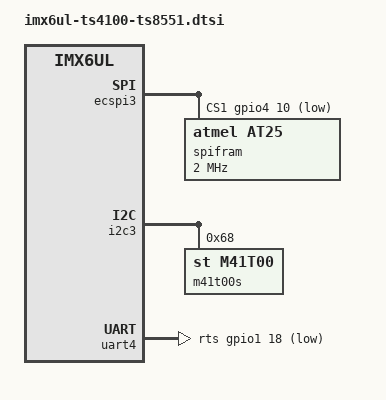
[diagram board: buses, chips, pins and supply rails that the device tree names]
// SPDX-License-Identifier: GPL-2.0 OR X11
/*
 * Copyright (C) 2023 Technologic Systems, Inc. dba embeddedTS
 */

#include <dt-bindings/input/input.h>

/* Requires more CS GPIO and updated pinctrl? */
&ecspi3 {
	num-cs = <2>;
	cs-gpios = <&gpio4 12 GPIO_ACTIVE_LOW
		    &gpio4 10 GPIO_ACTIVE_LOW>;
	pinctrl-names = "default";
	pinctrl-0 = <&pinctrl_ecspi3>;
	status = "okay";

        spifram: eeprom@1 {
                compatible = "atmel,at25", "cypress,fm25l16b";
                reg = <1>;
                spi-max-frequency = <2000000>;
                size = <0x800>;
                address-width = <16>;
                pagesize = <64>;
        };

};

&can2 {
	status = "disabled";
};

&i2c3 {
	m41t00s: rtc@68 {
		compatible = "st,m41t00";
		reg = <0x68>;
	};
};

&snvs_rtc {
	status = "disabled";
};

&uart4 {
	uart-has-rtscts;
	/* gpio 1_18 is initialized by the hog group in 4100.dtsi
	 * It is the SPARE_1 pin, needs to be set up in FPGA to pass to TXEN
	 * with the command 'tshwctl --out 0x31 --in 0x1'
	 */
	rts-gpios = <&gpio1 18 GPIO_ACTIVE_LOW>;
	dma-names = "", "";
	linux,rs485-enabled-at-boot-time;
};

&iomuxc {
	pinctrl-names = "default";
	pinctrl-0 = <&ts4100_pinctrl_hog &pinctrl_cam_gpio &pinctrl_lcd_gpio>;
};
